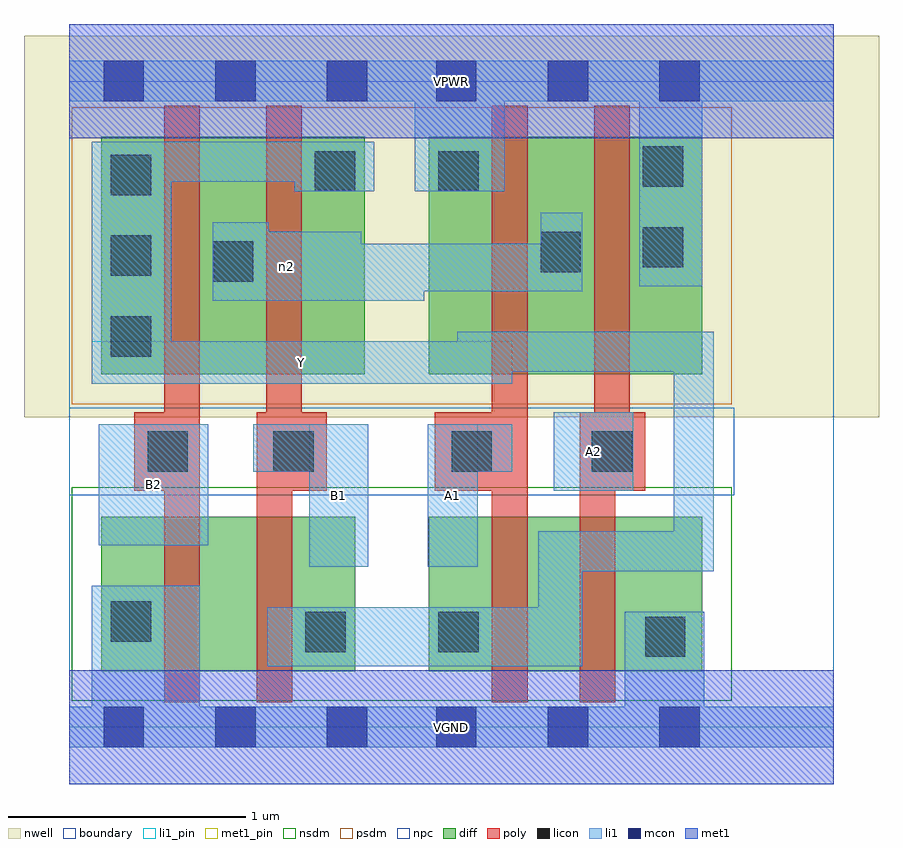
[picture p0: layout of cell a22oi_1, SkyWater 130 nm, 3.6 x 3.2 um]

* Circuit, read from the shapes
.subckt a22oi_1 A1 A2 B1 B2 VGND VPWR Y n2
XM1 n1 B2 VGND VSUBS sky130_fd_pr__nfet_01v8 w=0.65 l=0.15
XM2 Y B1 n1 VSUBS sky130_fd_pr__nfet_01v8 w=0.65 l=0.15
XM3 n3 A1 Y VSUBS sky130_fd_pr__nfet_01v8 w=0.65 l=0.15
XM4 VGND A2 n3 VSUBS sky130_fd_pr__nfet_01v8 w=0.65 l=0.15
XM5 n2 B2 Y n4 sky130_fd_pr__pfet_01v8 w=1 l=0.15
XM6 Y B1 n2 n4 sky130_fd_pr__pfet_01v8 w=1 l=0.15
XM7 n2 A1 VPWR n4 sky130_fd_pr__pfet_01v8 w=1 l=0.15
XM8 VPWR A2 n2 n4 sky130_fd_pr__pfet_01v8 w=1 l=0.15
.ends

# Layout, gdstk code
import gdstk
lib = gdstk.Library(unit=1e-6, precision=1e-09)
def R(c, l, rs):  # rectangles x0, y0, x1, y1
    for r in rs: c.add(gdstk.rectangle(r[:2], r[2:], *l))
def A(c, l, x, y, w, h, nx, ny, dx, dy):  # array of equal rectangles
    R(c, l, [(x+i*dx, y+j*dy, x+i*dx+w, y+j*dy+h) for i in range(nx) for j in range(ny)])
nwell = (64, 20)
diff = (65, 20)
poly = (66, 20)
licon = (66, 44)
li1_pin = (67, 16)
li1 = (67, 20)
mcon = (67, 44)
met1_pin = (68, 16)
met1 = (68, 20)
nsdm = (93, 44)
psdm = (94, 20)
npc = (95, 20)
boundary = (235, 4)

a22oi_1 = lib.new_cell('a22oi_1')
R(a22oi_1, nwell, [(-0.19,1.305,3.41,2.91), (0,1.305,3.22,2.91)])
R(a22oi_1, diff, [(0.135,0.235,1.205,0.885), (1.515,0.235,2.665,0.885), (0.135,1.485,1.245,2.485), (1.515,1.485,2.665,2.485)])
R(a22oi_1, poly, [(0.4,0.105,0.55,2.615), (0.79,0.105,0.94,1.325), (1.78,0.105,1.93,2.615), (2.15,0.105,2.3,1.325), (0.275,0.995,0.55,1.325), (0.79,0.995,1.085,1.325), (0.83,0.995,0.98,2.615), (1.54,0.995,1.93,1.325), (2.15,0.995,2.425,1.325), (2.21,0.995,2.36,2.615)])
A(a22oi_1, licon, 0.175, 1.56, 0.17, 0.17, 1, 3, 0, 0.34)
R(a22oi_1, licon, [(2.425,0.295,2.595,0.465), (0.995,0.315,1.165,0.485), (1.555,0.315,1.725,0.485), (0.175,0.36,0.345,0.53), (0.33,1.075,0.5,1.245), (0.86,1.075,1.03,1.245), (1.61,1.075,1.78,1.245), (2.2,1.075,2.37,1.245), (0.605,1.875,0.775,2.045), (1.985,1.915,2.155,2.085), (2.415,1.935,2.585,2.105), (1.035,2.255,1.205,2.425), (1.555,2.255,1.725,2.425), (2.415,2.275,2.585,2.445)])
R(a22oi_1, li1_pin, [(1.01,0.675,1.26,1.275), (1.51,0.675,1.72,1.275), (0.125,0.765,0.585,1.275), (2.04,0.995,2.375,1.325), (0.095,1.445,1.865,1.625)])
R(a22oi_1, li1, [(0,-0.085,3.22,0.085), (0.095,-0.085,0.55,0.595), (2.34,-0.085,2.675,0.485), (0.835,0.255,2.16,0.505), (1.975,0.255,2.16,0.825), (1.975,0.655,2.715,0.825), (2.545,0.655,2.715,1.665), (1.01,0.675,1.26,1.275), (1.51,0.675,1.72,1.275), (0.125,0.765,0.585,1.275), (2.04,0.995,2.375,1.325), (0.775,1.075,1.26,1.275), (1.51,1.075,1.865,1.275), (0.095,1.445,0.43,2.465), (0.095,1.445,1.865,1.625), (1.635,1.495,2.715,1.665), (0.605,1.795,1.23,2.085), (0.605,1.795,1.495,2.035), (0.605,1.795,0.84,2.125), (0.605,1.835,2.16,2.035), (1.985,1.835,2.16,2.165), (2.4,1.855,2.665,2.805), (0.95,2.255,1.285,2.465), (1.455,2.255,1.835,2.805), (0.095,2.295,1.285,2.465), (0,2.635,3.22,2.805)])
A(a22oi_1, mcon, 0.145, -0.085, 0.17, 0.17, 3, 2, 0.47, 2.72)
A(a22oi_1, mcon, 1.545, -0.085, 0.17, 0.17, 3, 2, 0.47, 2.72)
R(a22oi_1, met1_pin, [(0,-0.24,3.22,0.24), (0,2.48,3.22,2.96)])
R(a22oi_1, met1, [(0,-0.24,3.22,0.24), (0,2.48,3.22,2.96)])
R(a22oi_1, nsdm, [(0.01,0.11,2.79,1.01)])
R(a22oi_1, psdm, [(0.01,1.36,2.79,2.61)])
R(a22oi_1, npc, [(0,0.975,2.8,1.345)])
R(a22oi_1, boundary, [(0,0,3.22,2.72)])
a22oi_1.add(gdstk.Label('A1', (1.615,0.975), layer=67, texttype=5))
a22oi_1.add(gdstk.Label('A2', (2.207,1.16), layer=67, texttype=5))
a22oi_1.add(gdstk.Label('B1', (1.135,0.975), layer=67, texttype=5))
a22oi_1.add(gdstk.Label('B2', (0.355,1.02), layer=67, texttype=5))
a22oi_1.add(gdstk.Label('Y', (0.98,1.535), layer=67, texttype=5))
a22oi_1.add(gdstk.Label('n2', (0.917,1.94), layer=67, texttype=5))
a22oi_1.add(gdstk.Label('VPWR', (1.61,2.72), layer=68, texttype=5))
a22oi_1.add(gdstk.Label('VGND', (1.61,0), layer=68, texttype=5))
a22oi_1.add(gdstk.Label('A1', (1.615,0.975), layer=67, texttype=16))
a22oi_1.add(gdstk.Label('A2', (2.207,1.16), layer=67, texttype=16))
a22oi_1.add(gdstk.Label('B1', (1.135,0.975), layer=67, texttype=16))
a22oi_1.add(gdstk.Label('B2', (0.355,1.02), layer=67, texttype=16))
a22oi_1.add(gdstk.Label('Y', (0.98,1.535), layer=67, texttype=16))
a22oi_1.add(gdstk.Label('VPWR', (1.61,2.72), layer=68, texttype=16))
a22oi_1.add(gdstk.Label('VGND', (1.61,0), layer=68, texttype=16))

lib.write_gds('a22oi_1.gds')
